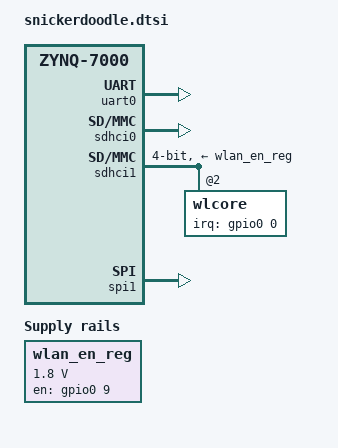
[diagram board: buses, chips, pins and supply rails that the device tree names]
/**
 * Copyright (c) 2016 krtkl inc.
 *
 * snickerdoodle base device tree source
 *
 * This program is free software; you can redistribute it and/or modify it
 * under the terms of the GNU General Public License version 2 as published by
 * the Free Software Foundation.
 */

/include/ "zynq-7000.dtsi"
/ {
        compatible = "krtkl,snickerdoodle", "xlnx,zynq-7000";

	aliases {
		serial0 = &uart0;
		spi0 = &qspi;
		spi1 = &spi1;
		mmc0 = &sdhci0;
		mmc1 = &sdhci1;
	};

	wlan_en_reg: fixed-regulator-wlen {
		compatible = "regulator-fixed";
		regulator-name = "wlan-en-regulator";
		regulator-min-microvolt = <1800000>;
		regulator-max-microvolt = <1800000>;
		gpio = <&gpio0 9 4>;
		startup-delay-us = <70000>;
		enable-active-high;
	};

	xlnk {
		compatible = "xlnx,xlnk-1.0";
		clock-names = "clk50", "clk100", "clk150", "clk200";
		clocks = <&clkc 15>, <&clkc 16>, <&clkc 17>, <&clkc 18>;
	};
};

&clkc {
	ps-clk-frequency = <33333333>;
};

&uart0 {
	status = "okay";
};

&sdhci0 {
	status = "okay";
};

&sdhci1 {
	status = "okay";
	vmmc-supply = <&wlan_en_reg>;
	bus-width = <4>;
	cap-power-off-card;
	keep-power-in-suspend;
	#address-cells = <1>;
	#size-cells = <0>;	

	wlcore: wlcore@0 {
		reg = <2>;
		interrupt-parent = <&gpio0>;
		interrupts = <0 4>;
	};
};

&spi1 {
	status = "okay";
	num-cs = <1>;
};

